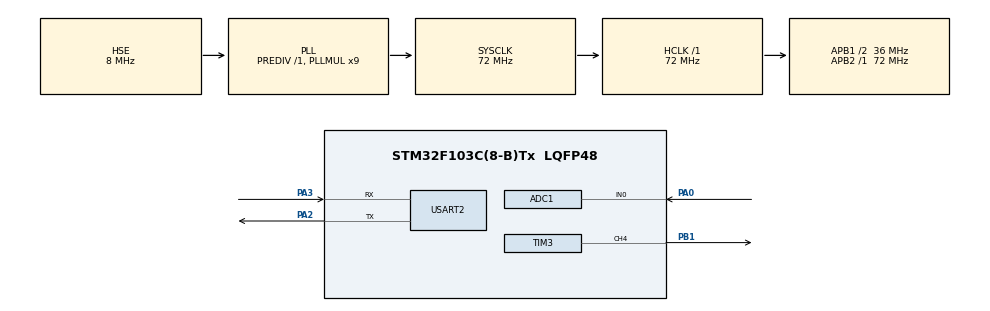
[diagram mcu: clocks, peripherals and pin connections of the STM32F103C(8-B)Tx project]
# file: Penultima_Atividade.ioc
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ADC1.Channel-0\#ChannelRegularConversion=ADC_CHANNEL_0
ADC1.NbrOfConversionFlag=1
ADC1.Rank-0\#ChannelRegularConversion=1
ADC1.SamplingTime-0\#ChannelRegularConversion=ADC_SAMPLETIME_1CYCLE_5
ADC1.master=1
Dma.Request0=USART2_RX
Dma.USART2_RX.0.Direction=DMA_PERIPH_TO_MEMORY
Dma.USART2_RX.0.Instance=DMA1_Channel6
Dma.USART2_RX.0.MemDataAlignment=DMA_MDATAALIGN_BYTE
Dma.USART2_RX.0.MemInc=DMA_MINC_ENABLE
Dma.USART2_RX.0.Mode=DMA_NORMAL
Dma.USART2_RX.0.PeriphDataAlignment=DMA_PDATAALIGN_BYTE
Dma.USART2_RX.0.PeriphInc=DMA_PINC_DISABLE
Dma.USART2_RX.0.Priority=DMA_PRIORITY_LOW
Mcu.Family=STM32F1
Mcu.Name=STM32F103C(8-B)Tx
Mcu.Package=LQFP48
NVIC.DMA1_Channel6_IRQn=true\:0\:0\:false\:false\:true\:false\:true\:true
NVIC.PriorityGroup=NVIC_PRIORITYGROUP_4
NVIC.USART2_IRQn=true\:0\:0\:false\:false\:true\:true\:true\:true
PA0-WKUP.Signal=ADCx_IN0
PA13.Mode=Serial_Wire
PA13.Signal=SYS_JTMS-SWDIO
PA14.Mode=Serial_Wire
PA14.Signal=SYS_JTCK-SWCLK
PA2.Mode=Asynchronous
PA2.Signal=USART2_TX
PA3.Mode=Asynchronous
PA3.Signal=USART2_RX
PB1.Signal=S_TIM3_CH4
PD0-OSC_IN.Mode=HSE-External-Oscillator
PD0-OSC_IN.Signal=RCC_OSC_IN
PD1-OSC_OUT.Mode=HSE-External-Oscillator
PD1-OSC_OUT.Signal=RCC_OSC_OUT
ProjectManager.HeapSize=0x200
ProjectManager.StackSize=0x400
ProjectManager.TargetToolchain=STM32CubeIDE
RCC.ADCPresc=RCC_ADCPCLK2_DIV6
RCC.AHBFreq_Value=72000000
RCC.APB1CLKDivider=RCC_HCLK_DIV2
RCC.APB1Freq_Value=36000000
RCC.APB1TimFreq_Value=72000000
RCC.APB2Freq_Value=72000000
RCC.APB2TimFreq_Value=72000000
RCC.HCLKFreq_Value=72000000
RCC.PLLMUL=RCC_PLL_MUL9
RCC.PLLSourceVirtual=RCC_PLLSOURCE_HSE
RCC.SYSCLKFreq_VALUE=72000000
RCC.SYSCLKSource=RCC_SYSCLKSOURCE_PLLCLK
RCC.USBFreq_Value=72000000
SH.ADCx_IN0.0=ADC1_IN0,IN0
SH.S_TIM3_CH4.0=TIM3_CH4,PWM Generation4 CH4
TIM3.Channel-PWM\ Generation4\ CH4=TIM_CHANNEL_4
TIM3.Period=100
TIM3.Prescaler=71
USART2.VirtualMode=VM_ASYNC
VP_TIM3_VS_ClockSourceINT.Mode=Internal
board=custom

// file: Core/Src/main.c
/* USER CODE BEGIN Header */
/**
  ******************************************************************************
  * @file           : main.c
  * @brief          : Main program body
  ******************************************************************************
  * @attention
  *
  * Copyright (c) 2026 STMicroelectronics.
  * All rights reserved.
  *
  * This software is licensed under terms that can be found in the LICENSE file
  * in the root directory of this software component.
  * If no LICENSE file comes with this software, it is provided AS-IS.
  *
  ******************************************************************************
  */
/* USER CODE END Header */
#include "main.h"
#include "usb_device.h"

/* USER CODE BEGIN Includes */
#include "string.h"
#include "stdio.h"
#include <stdlib.h>

/* USER CODE END Includes */

/* USER CODE BEGIN PD */
#define BUFFER_SIZE 20
#define LUT_SIZE 28
/* USER CODE END PD */

ADC_HandleTypeDef hadc1;

TIM_HandleTypeDef htim3;

UART_HandleTypeDef huart2;
DMA_HandleTypeDef hdma_usart2_rx;

/* USER CODE BEGIN PV */

uint8_t brilho_led = 50;
uint8_t resistencia_input = 0;

char rx_buffer[10];
uint8_t rx_index = 0;
uint8_t rx_data;

typedef struct {
    uint8_t pwm;
    float resistance;
} LutPoint;

LutPoint lut[LUT_SIZE] = {
};

#define RX_BUFFER_SIZE 50
char rx_dma_buffer[RX_BUFFER_SIZE];

/* USER CODE END PV */

void SystemClock_Config(void);
static void MX_GPIO_Init(void);
static void MX_DMA_Init(void);
static void MX_USART2_UART_Init(void);
static void MX_ADC1_Init(void);
static void MX_TIM3_Init(void);

/* USER CODE BEGIN 0 */
int _write(int file, char *ptr, int len) {
    /* Sobrescreve a funcao padrao para direcionar o printf para a porta serial USART2 */
    HAL_UART_Transmit(&huart2, (uint8_t*)ptr, len, HAL_MAX_DELAY);
    return len;
}

float read_adc(void){
    /* Executa a aquisicao de dados do canal analogico e converte para ohms */
    uint32_t adc_value = 0;
    float ldr_resistance = 0.0;
    const float R_FIXO = 10000.0;

    HAL_ADC_Start(&hadc1);

    if (HAL_ADC_PollForConversion(&hadc1, 100) == HAL_OK)
    {
        /* Armazena a conversao bruta de 12-bits do conversor analogico-digital */
        adc_value = HAL_ADC_GetValue(&hadc1);

        if (adc_value > 0 && adc_value < 4095)
        {
            ldr_resistance = R_FIXO * ((4095.0 / (float)adc_value) - 1.0);
        }
    }
    HAL_ADC_Stop(&hadc1);

    return ldr_resistance;
}

float resistencia_media() {
    /* Filtro passa-baixa digital (media movel) para atenuar ruidos na leitura do sensor */
    static float buffer[BUFFER_SIZE] = {0};
    static int index = 0;
    static float soma = 0.0;
    static int count = 0;

    /* Atualiza a janela de amostragem removendo o dado antigo e inserindo o novo */
    soma -= buffer[index];
    buffer[index] = read_adc();
    soma += buffer[index];

    /* Atualiza o apontador do buffer circular */
    index = (index + 1) % BUFFER_SIZE;

    /* Tratamento para o regime transitorio inicial (preenchimento inicial do vetor) */
    if (count < BUFFER_SIZE) {
        count++;
        return soma / count;
    }

    return soma / BUFFER_SIZE;
}

float medir_resistencia_media() {
    float soma = 0;

    for(int i = 0; i < 20; i++) {
        soma += read_adc();
        HAL_Delay(5);
    }

    return soma / 20;
}

uint8_t resistencia_pwm(float res){
    /* Retorna o Duty Cycle correspondente a resistencia alvo consultando a matriz em memoria */

    if (res <= lut[0].resistance){ return lut[0].pwm; }
    if (res >= lut[LUT_SIZE-1].resistance){ return lut[LUT_SIZE-1].pwm; }

    for(int i = 0; i < LUT_SIZE-1; i++) {
        /* Itera sobre a Look-up Table para localizar a faixa de operacao atual */
        float r1 = lut[i].resistance;
        float r2 = lut[i + 1].resistance;

        if(res >= r1 && res <= r2) {
            uint8_t pwm1 = lut[i].pwm;
            uint8_t pwm2 = lut[i + 1].pwm;

            if (r1 == r2)
                return pwm1;

            /* Calculo da interpolacao linear entre dois pontos conhecidos da curva do LDR */
            float pwm = pwm1 + ((res - r1) * (pwm2 - pwm1)) / (r2 - r1);

            return (uint8_t)pwm;
        }
    }

    return 0;
}

void criar_lut(){
    /* Algoritmo de calibracao automatica do sistema fisico (LED acoplado ao LDR) */
    uint8_t index_lut = 0;

    for (int i = 100; i >= 15; i-=5){
        __HAL_TIM_SET_COMPARE(&htim3, TIM_CHANNEL_4, i);
        HAL_Delay(200);

        lut[index_lut].pwm = i;
        lut[index_lut].resistance = medir_resistencia_media();

        printf("PWM: %d | RES: %d\r\n",
                       lut[index_lut].pwm,
                       (int)lut[index_lut].resistance);

        index_lut ++;
    }

    for (int i = 10; i >= 1; i--){
        __HAL_TIM_SET_COMPARE(&htim3, TIM_CHANNEL_4, i);
        HAL_Delay(200);

        lut[index_lut].pwm = i;
        lut[index_lut].resistance = medir_resistencia_media();

        printf("PWM: %d | RES: %d\r\n",
                           lut[index_lut].pwm,
                           (int)lut[index_lut].resistance);

        index_lut ++;
    }
}

/* USER CODE END 0 */

int main(void)
{

  /* MCU Configuration--------------------------------------------------------*/

  /* Reset of all peripherals, Initializes the Flash interface and the Systick. */
  HAL_Init();

  /* Configure the system clock */
  SystemClock_Config();

  /* Initialize all configured peripherals */
  MX_GPIO_Init();
  MX_DMA_Init();
  MX_USART2_UART_Init();
  MX_USB_DEVICE_Init();
  MX_ADC1_Init();
  MX_TIM3_Init();
  /* USER CODE BEGIN 2 */
  HAL_TIM_PWM_Start(&htim3, TIM_CHANNEL_4);

  criar_lut();

  /* Antiga chamada de interrupcao simples, substituida pelo DMA assincrono */
  HAL_UARTEx_ReceiveToIdle_DMA(&huart2, (uint8_t *)rx_dma_buffer, RX_BUFFER_SIZE);
  __HAL_DMA_DISABLE_IT(&hdma_usart2_rx, DMA_IT_HT);
  /* USER CODE END 2 */

  /* Infinite loop */
  /* USER CODE BEGIN WHILE */
  while (1)
  {
    __HAL_TIM_SET_COMPARE(&htim3, TIM_CHANNEL_4, brilho_led);

    float resistance = resistencia_media();
    /* Formatacao do console com conversao explicita (casting) para inteiro */
    printf("Resistencia media: %d | Brilho LED: %d%%\n", (int)resistance, brilho_led);

    HAL_Delay(100);
    /* USER CODE END WHILE */

  }
}

void SystemClock_Config(void)
{
  RCC_OscInitTypeDef RCC_OscInitStruct = {0};
  RCC_ClkInitTypeDef RCC_ClkInitStruct = {0};
  RCC_PeriphCLKInitTypeDef PeriphClkInit = {0};

  /** Initializes the RCC Oscillators according to the specified parameters
  * in the RCC_OscInitTypeDef structure.
  */
  RCC_OscInitStruct.OscillatorType = RCC_OSCILLATORTYPE_HSE;
  RCC_OscInitStruct.HSEState = RCC_HSE_ON;
  RCC_OscInitStruct.HSEPredivValue = RCC_HSE_PREDIV_DIV1;
  RCC_OscInitStruct.HSIState = RCC_HSI_ON;
  RCC_OscInitStruct.PLL.PLLState = RCC_PLL_ON;
  RCC_OscInitStruct.PLL.PLLSource = RCC_PLLSOURCE_HSE;
  RCC_OscInitStruct.PLL.PLLMUL = RCC_PLL_MUL9;
  if (HAL_RCC_OscConfig(&RCC_OscInitStruct) != HAL_OK)
  {
    Error_Handler();
  }

  /** Initializes the CPU, AHB and APB buses clocks
  */
  RCC_ClkInitStruct.ClockType = RCC_CLOCKTYPE_HCLK|RCC_CLOCKTYPE_SYSCLK
                              |RCC_CLOCKTYPE_PCLK1|RCC_CLOCKTYPE_PCLK2;
  RCC_ClkInitStruct.SYSCLKSource = RCC_SYSCLKSOURCE_PLLCLK;
  RCC_ClkInitStruct.AHBCLKDivider = RCC_SYSCLK_DIV1;
  RCC_ClkInitStruct.APB1CLKDivider = RCC_HCLK_DIV2;
  RCC_ClkInitStruct.APB2CLKDivider = RCC_HCLK_DIV1;

  if (HAL_RCC_ClockConfig(&RCC_ClkInitStruct, FLASH_LATENCY_2) != HAL_OK)
  {
    Error_Handler();
  }
  PeriphClkInit.PeriphClockSelection = RCC_PERIPHCLK_ADC|RCC_PERIPHCLK_USB;
  PeriphClkInit.AdcClockSelection = RCC_ADCPCLK2_DIV6;
  PeriphClkInit.UsbClockSelection = RCC_USBCLKSOURCE_PLL_DIV1_5;
  if (HAL_RCCEx_PeriphCLKConfig(&PeriphClkInit) != HAL_OK)
  {
    Error_Handler();
  }
}

static void MX_ADC1_Init(void)
{

  ADC_ChannelConfTypeDef sConfig = {0};

  /** Common config
  */
  hadc1.Instance = ADC1;
  hadc1.Init.ScanConvMode = ADC_SCAN_DISABLE;
  hadc1.Init.ContinuousConvMode = DISABLE;
  hadc1.Init.DiscontinuousConvMode = DISABLE;
  hadc1.Init.ExternalTrigConv = ADC_SOFTWARE_START;
  hadc1.Init.DataAlign = ADC_DATAALIGN_RIGHT;
  hadc1.Init.NbrOfConversion = 1;
  if (HAL_ADC_Init(&hadc1) != HAL_OK)
  {
    Error_Handler();
  }

  /** Configure Regular Channel
  */
  sConfig.Channel = ADC_CHANNEL_0;
  sConfig.Rank = ADC_REGULAR_RANK_1;
  sConfig.SamplingTime = ADC_SAMPLETIME_1CYCLE_5;
  if (HAL_ADC_ConfigChannel(&hadc1, &sConfig) != HAL_OK)
  {
    Error_Handler();
  }

}

static void MX_TIM3_Init(void)
{

  TIM_MasterConfigTypeDef sMasterConfig = {0};
  TIM_OC_InitTypeDef sConfigOC = {0};

  htim3.Instance = TIM3;
  htim3.Init.Prescaler = 71;
  htim3.Init.CounterMode = TIM_COUNTERMODE_UP;
  htim3.Init.Period = 100;
  htim3.Init.ClockDivision = TIM_CLOCKDIVISION_DIV1;
  htim3.Init.AutoReloadPreload = TIM_AUTORELOAD_PRELOAD_DISABLE;
  if (HAL_TIM_PWM_Init(&htim3) != HAL_OK)
  {
    Error_Handler();
  }
  sMasterConfig.MasterOutputTrigger = TIM_TRGO_RESET;
  sMasterConfig.MasterSlaveMode = TIM_MASTERSLAVEMODE_DISABLE;
  if (HAL_TIMEx_MasterConfigSynchronization(&htim3, &sMasterConfig) != HAL_OK)
  {
    Error_Handler();
  }
  sConfigOC.OCMode = TIM_OCMODE_PWM1;
  sConfigOC.Pulse = 0;
  sConfigOC.OCPolarity = TIM_OCPOLARITY_HIGH;
  sConfigOC.OCFastMode = TIM_OCFAST_DISABLE;
  if (HAL_TIM_PWM_ConfigChannel(&htim3, &sConfigOC, TIM_CHANNEL_4) != HAL_OK)
  {
    Error_Handler();
  }
  HAL_TIM_MspPostInit(&htim3);

}

static void MX_USART2_UART_Init(void)
{

  huart2.Instance = USART2;
  huart2.Init.BaudRate = 115200;
  huart2.Init.WordLength = UART_WORDLENGTH_8B;
  huart2.Init.StopBits = UART_STOPBITS_1;
  huart2.Init.Parity = UART_PARITY_NONE;
  huart2.Init.Mode = UART_MODE_TX_RX;
  huart2.Init.HwFlowCtl = UART_HWCONTROL_NONE;
  huart2.Init.OverSampling = UART_OVERSAMPLING_16;
  if (HAL_UART_Init(&huart2) != HAL_OK)
  {
    Error_Handler();
  }

}

static void MX_DMA_Init(void)
{

  /* DMA controller clock enable */
  __HAL_RCC_DMA1_CLK_ENABLE();

  /* DMA interrupt init */
  /* DMA1_Channel6_IRQn interrupt configuration */
  HAL_NVIC_SetPriority(DMA1_Channel6_IRQn, 0, 0);
  HAL_NVIC_EnableIRQ(DMA1_Channel6_IRQn);

}

static void MX_GPIO_Init(void)
{

  /* GPIO Ports Clock Enable */
  __HAL_RCC_GPIOD_CLK_ENABLE();
  __HAL_RCC_GPIOA_CLK_ENABLE();
  __HAL_RCC_GPIOB_CLK_ENABLE();

}

/* USER CODE BEGIN 4 */

void HAL_UARTEx_RxEventCallback(UART_HandleTypeDef *huart, uint16_t Size){
  if (huart->Instance == USART2) {
  /* Insere o terminador nulo para assegurar que os dados recebidos formem uma string valida */
  rx_dma_buffer[Size] = '\0';

  int nova_res_int;
  int index, novo_pwm;

  if (rx_dma_buffer[0] == 'R' || rx_dma_buffer[0] == 'r') {
    /* Faz o parsing da informacao recebida isolando apenas a grandeza escalar (int) */
    if (sscanf(rx_dma_buffer, "%*c %d", &nova_res_int) == 1) {
      /* Realiza o cast para float e solicita o ajuste no controle PWM do digipot */
      brilho_led = resistencia_pwm((float)nova_res_int);
      /* Feedback de execucao no console serial */
      printf("Resistencia alvo atualizada para: %d\r\n", nova_res_int);
    }
  }

  else if (rx_dma_buffer[0] == 'L' || rx_dma_buffer[0] == 'l') {
    /* Extrai os parametros formatados enviados pelo host para sobrescrever a memoria */
    if (sscanf(rx_dma_buffer, "%*c %d %d %d", &index, &novo_pwm, &nova_res_int) == 3) {
      if (index >= 0 && index < LUT_SIZE) {
        lut[index].pwm = (uint8_t)novo_pwm;
        lut[index].resistance = (float)nova_res_int; /* Conversao exigida pela definicao da struct */

        /* Confirmação ao usuario contendo as especificacoes que foram salvas */
        printf("LUT[%d] atualizada: PWM=%d, RES=%d\r\n", index, lut[index].pwm, (int)lut[index].resistance);
      } else {
        printf("Erro: Indice da LUT fora do limite!\r\n");
      }
    }
  }

  /* Rearma a recepcao em backgroud da UART atraves do canal de DMA configurado */
  HAL_UARTEx_ReceiveToIdle_DMA(&huart2, (uint8_t *)rx_dma_buffer, RX_BUFFER_SIZE);
  __HAL_DMA_DISABLE_IT(&hdma_usart2_rx, DMA_IT_HT);
}
}
/* USER CODE END 4 */

void Error_Handler(void)
{
  __disable_irq();
  while (1)
  {
  }
}
